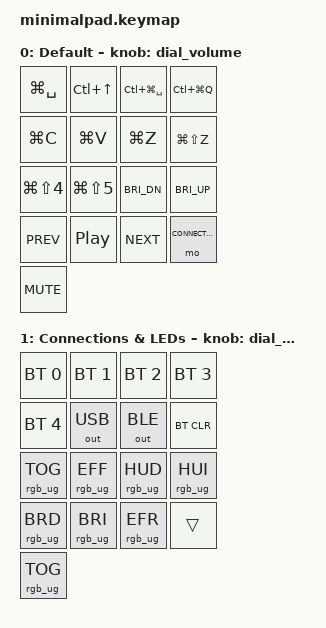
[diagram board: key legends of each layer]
#include <behaviors.dtsi>
#include <dt-bindings/zmk/keys.h>
#include <dt-bindings/zmk/bt.h>
#include <dt-bindings/zmk/rgb.h>
#include <dt-bindings/zmk/outputs.h>
#include <dt-bindings/minimalpad/dial.h>
#include <dt-bindings/minimalpad/profile_layer.h>

#define DEFAULT_LAYER 0
#define CONNECTIONS 1

/ {
    sensors {
        compatible = "zmk,keymap-sensors";
        sensors = <&encoder0>;
        // One per click of the 20-click encoder: exactly one step per click.
        triggers-per-rotation = <20>;
    };

    behaviors {
        // The dial. Each layer's turn can be changed in MinimalPad Studio for Mac, which
        // keeps the choice on the pad: a key, a scroll or a lighting step, with modifiers.
        // Until then it does what these say. A layer with no dial of its own, such as an
        // app profile, gets the dial of the layer below.
        dial_volume: dial_volume {
            compatible = "minimalpad,behavior-host-dial";
            #sensor-binding-cells = <0>;
            clockwise = <C_VOL_UP>;
            counter-clockwise = <C_VOL_DN>;
        };

        dial_lights: dial_lights {
            compatible = "minimalpad,behavior-host-dial";
            #sensor-binding-cells = <0>;
            clockwise = <DIAL_LIGHTS_BRIGHTER>;
            counter-clockwise = <DIAL_LIGHTS_DIMMER>;
        };

        // Mac action key: does nothing on the pad, tells MinimalPad Studio for Mac
        // which action id went down or up. No key uses it here; Studio assigns it.
        mac_action: mac_action {
            compatible = "minimalpad,behavior-mac-action";
            #binding-cells = <1>;
            display-name = "Mac Action";
        };

        // Profile layer key: moves between the layers of the profile MinimalPad Studio holds
        // the pad on, with PL_NEXT, PL_GO and PL_HOLD (dt-bindings/minimalpad/profile_layer.h).
        // With no profile held it does nothing. No key uses it here; Studio assigns it.
        profile_layer: profile_layer {
            compatible = "minimalpad,behavior-profile-layer";
            #binding-cells = <2>;
            display-name = "Profile Layer";
        };
    };

        macros {
        claude_chief: claude_chief {
            compatible = "zmk,behavior-macro";
            #binding-cells = <0>;
            display-name = "Claude /chief";
            wait-ms = <10>;
            tap-ms = <10>;
            bindings
                = <&macro_tap &kp SLASH &kp C &kp H &kp I &kp E &kp F>
                , <&macro_wait_time 300>
                , <&macro_tap &kp ENTER>
                ;
        };

        claude_rapportcheck: claude_rapportcheck {
            compatible = "zmk,behavior-macro";
            #binding-cells = <0>;
            display-name = "Claude /rapportcheck";
            wait-ms = <10>;
            tap-ms = <10>;
            bindings = <&macro_tap &kp SLASH &kp R &kp A &kp P &kp P &kp O &kp R &kp T &kp C &kp H &kp E &kp C &kp K &kp SPACE>;
        };

        claude_brief: claude_brief {
            compatible = "zmk,behavior-macro";
            #binding-cells = <0>;
            display-name = "Claude /brief";
            wait-ms = <10>;
            tap-ms = <10>;
            bindings = <&macro_tap &kp SLASH &kp B &kp R &kp I &kp E &kp F &kp SPACE>;
        };

        claude_research: claude_research {
            compatible = "zmk,behavior-macro";
            #binding-cells = <0>;
            display-name = "Claude /research";
            wait-ms = <10>;
            tap-ms = <10>;
            bindings = <&macro_tap &kp SLASH &kp R &kp E &kp S &kp E &kp A &kp R &kp C &kp H &kp SPACE>;
        };
    };
keymap {
        compatible = "zmk,keymap";

        // ╔══════════╦══════════╦══════════╦══════════╗
        // ║SPOTLIGHT ║ MISSION  ║  EMOJI   ║   LOCK   ║  Find, see every window, emoji, lock
        // ║          ║ CONTROL  ║          ║  SCREEN  ║
        // ╠══════════╬══════════╬══════════╬══════════╣
        // ║   COPY   ║  PASTE   ║   UNDO   ║   REDO   ║  Editing
        // ╠══════════╬══════════╬══════════╬══════════╣
        // ║SCREENSHOT║ CAPTURE  ║  SCREEN  ║  SCREEN  ║  Screenshots + display brightness
        // ║   AREA   ║  TOOLS   ║  BRI −   ║  BRI +   ║
        // ╠══════════╬══════════╬══════════╬══════════╣
        // ║   PREV   ║  PLAY/   ║   NEXT   ║ [HOLD]→  ║  Media + layer hold
        // ║  TRACK   ║  PAUSE   ║  TRACK   ║ CONNECT. ║
        // ╠══════════╩══════════╩══════════╩══════════╣
        // ║           MUTE  (encoder button)          ║
        // ╚═══════════════════════════════════════════╝
        //   Encoder rotation: Volume Up / Volume Down, unless changed in Studio
        //   The shortcuts are macOS ones: Cmd Space, Ctrl Up, Ctrl Cmd Space,
        //   Ctrl Cmd Q, Cmd C / V / Z, Cmd Shift Z, Cmd Shift 4 and Cmd Shift 5.
        //   Hold the BOTTOM-RIGHT key to reach the Connections & LEDs layer.
        default_layer {
            display-name = "Default";
            bindings = <
                &kp LG(SPACE)      &kp LC(UP)         &kp LC(LG(SPACE))  &kp LC(LG(Q))
                &kp LG(C)          &kp LG(V)          &kp LG(Z)          &kp LG(LS(Z))
                &kp LG(LS(N4))     &kp LG(LS(N5))     &kp C_BRI_DN       &kp C_BRI_UP
                &kp C_PREV         &kp C_PP           &kp C_NEXT         &mo CONNECTIONS
                &kp C_MUTE
            >;
            sensor-bindings = <&dial_volume>;
        };

        // ╔══════════╦══════════╦══════════╦══════════╗
        // ║BLUETOOTH ║BLUETOOTH ║BLUETOOTH ║BLUETOOTH ║  Paired devices 1-4
        // ║    1     ║    2     ║    3     ║    4     ║
        // ╠══════════╬══════════╬══════════╬══════════╣
        // ║BLUETOOTH ║   USE    ║   USE    ║  CLEAR   ║  Device 5, choose the connection,
        // ║    5     ║   USB    ║BLUETOOTH ║ PAIRING  ║  forget this device's pairing
        // ╠══════════╬══════════╬══════════╬══════════╣
        // ║  LIGHTS  ║   NEXT   ║  COLOUR  ║  COLOUR  ║  Lights
        // ║  ON/OFF  ║  EFFECT  ║    −     ║    +     ║
        // ╠══════════╬══════════╬══════════╬══════════╣
        // ║  LIGHTS  ║  LIGHTS  ║ PREVIOUS ║  (HELD)  ║  Light brightness, previous effect
        // ║  DIMMER  ║ BRIGHTER ║  EFFECT  ║          ║
        // ╠══════════╩══════════╩══════════╩══════════╣
        // ║      LIGHTS ON/OFF  (encoder button)      ║
        // ╚═══════════════════════════════════════════╝
        //   Active while the bottom-right key is held (from the Default layer).
        //   Encoder rotation here: light brightness up / down, unless changed in Studio.
        //   USE USB and USE BLUETOOTH pick where keys go. The pad answers MinimalPad
        //   Studio only on that connection, so choose USB to edit over a cable.
        //   CLEAR PAIRING sits at the end of its row, away from the device keys, so it is
        //   not pressed by mistake.
        connections_layer {
            display-name = "Connections & LEDs";
            bindings = <
                &bt BT_SEL 0       &bt BT_SEL 1       &bt BT_SEL 2       &bt BT_SEL 3
                &bt BT_SEL 4       &out OUT_USB       &out OUT_BLE       &bt BT_CLR
                &rgb_ug RGB_TOG    &rgb_ug RGB_EFF    &rgb_ug RGB_HUD    &rgb_ug RGB_HUI
                &rgb_ug RGB_BRD    &rgb_ug RGB_BRI    &rgb_ug RGB_EFR    &trans
                &rgb_ug RGB_TOG
            >;
            sensor-bindings = <&dial_lights>;
        };

        // Reserved slots, where MinimalPad Studio for Mac adds profile layers with ZMK
        // Studio's add_layer: 14 of them, for 16 layers with Default and Connections &
        // LEDs. Only builds with ZMK Studio compile them in; without it the keymap is the
        // two layers above.
        extra_1 {
            status = "reserved";
        };

        extra_2 {
            status = "reserved";
        };

        extra_3 {
            status = "reserved";
        };

        extra_4 {
            status = "reserved";
        };

        extra_5 {
            status = "reserved";
        };

        extra_6 {
            status = "reserved";
        };

        extra_7 {
            status = "reserved";
        };

        extra_8 {
            status = "reserved";
        };

        extra_9 {
            status = "reserved";
        };

        extra_10 {
            status = "reserved";
        };

        extra_11 {
            status = "reserved";
        };

        extra_12 {
            status = "reserved";
        };

        extra_13 {
            status = "reserved";
        };

        extra_14 {
            status = "reserved";
        };
    };
};
